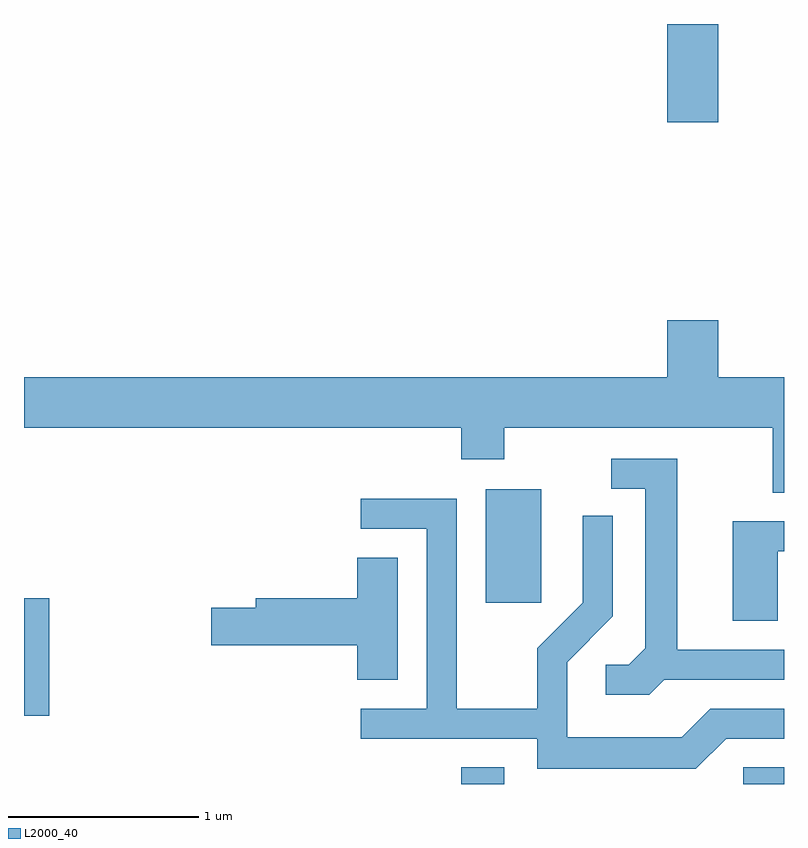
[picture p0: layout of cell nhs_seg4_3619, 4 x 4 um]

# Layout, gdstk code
import gdstk
lib = gdstk.Library(unit=1e-6, precision=1e-09)
def R(c, l, rs):  # rectangles x0, y0, x1, y1
    for r in rs: c.add(gdstk.rectangle(r[:2], r[2:], *l))
def P(c, l, *ps):  # polygons
    for p in ps: c.add(gdstk.Polygon(p, *l))
L2000_40 = (2000, 40)

nhs_seg4_3619 = lib.new_cell('nhs_seg4_3619')
R(nhs_seg4_3619, L2000_40, [(293.911,1283.982,294.139,1284.069), (295.396,1283.982,295.611,1284.069), (291.611,1284.341,291.744,1284.959), (294.041,1284.936,294.334,1285.534), (294.996,1287.466,295.264,1287.982)])
P(nhs_seg4_3619, L2000_40, [(295.611,1286.124),(295.264,1286.124),(295.264,1286.424),(294.996,1286.424),(294.996,1286.124),(291.611,1286.124),(291.611,1285.856),(293.911,1285.856),(293.911,1285.691),(294.139,1285.691),(294.139,1285.856),(295.551,1285.856),(295.551,1285.516),(295.611,1285.516)],
  [(294.982,1284.531),(295.611,1284.531),(295.611,1284.689),(295.049,1284.689),(295.049,1285.694),(294.703,1285.694),(294.703,1285.536),(294.881,1285.536),(294.881,1284.697),(294.794,1284.609),(294.673,1284.609),(294.673,1284.451),(294.902,1284.451)],
  [(295.307,1284.221),(295.611,1284.221),(295.611,1284.379),(295.224,1284.379),(295.074,1284.229),(294.469,1284.229),(294.469,1284.624),(294.709,1284.864),(294.709,1285.393),(294.551,1285.393),(294.551,1284.937),(294.311,1284.697),(294.311,1284.379),(293.889,1284.379),(293.889,1285.484),(293.383,1285.484),(293.383,1285.326),(293.731,1285.326),(293.731,1284.379),(293.383,1284.379),(293.383,1284.221),(294.311,1284.221),(294.311,1284.061),(295.147,1284.061)],
  [(295.579,1285.206),(295.611,1285.206),(295.611,1285.364),(295.341,1285.364),(295.341,1284.841),(295.579,1284.841)],
  [(293.579,1285.174),(293.366,1285.174),(293.366,1284.959),(292.831,1284.959),(292.831,1284.909),(292.596,1284.909),(292.596,1284.711),(293.366,1284.711),(293.366,1284.531),(293.579,1284.531)])

lib.write_gds('nhs_seg4_3619.gds')
